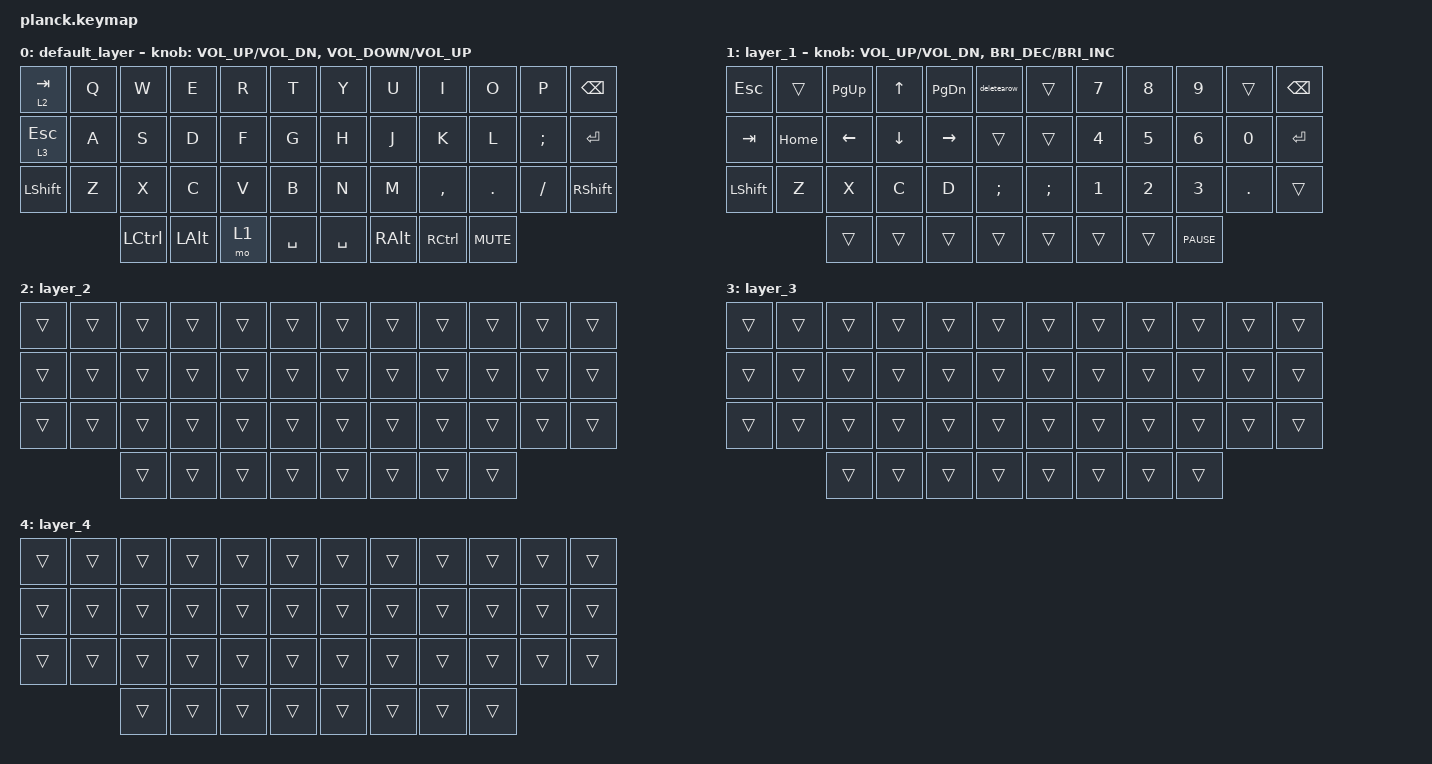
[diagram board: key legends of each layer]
#include <behaviors.dtsi>
#include <dt-bindings/zmk/keys.h>

// / {
//     chosen {
//         zmk,physical-layout = &matrix_physical_layout;
//     };
// };

/ {
    macros {
        deletearow: deletearow {
            compatible = "zmk,behavior-macro";
            #binding-cells = <0>;
            bindings = <&kp END &kp LS(HOME) &kp BACKSPACE>;
            label = "DELETEAROW";
        };
    };

    keymap {
        compatible = "zmk,keymap";

        default_layer {
            // --------------------------------------------------------------------------------------------------------------------------------------------------------------------
            // |   ESC   |    Q    |    W    |    E    |    R    |    T    |                                          |    Y    |    U    |    I    |    O    |    P    |    \    |
            // |   TAB   |    A    |    S    |    D    |    F    |    G    |                                          |    H    |    J    |    K    |    L    |    ;    |    '    |
            // |  SHIFT  |    Z    |    X    |    C    |    V    |    B    | CTRL+A  | CTRL+C  |  |  CTRL+V |  CTRL+X |    N    |    M    |    ,    |    .    |    /    |  R CTRL |
            //                               |   GUI   |   DEL   | RETURN  |  SPACE  | ESCAPE  |  |  RETURN |  SPACE  |   TAB   |   BSPC  |  R ALT  |

            bindings = <
&lt 2 TAB       &kp Q  &kp W      &kp E         &kp R  &kp T      &kp Y      &kp U          &kp I      &kp O       &kp P     &kp BACKSPACE
&lt 3 ESCAPE    &kp A  &kp S      &kp D         &kp F  &kp G      &kp H      &kp J          &kp K      &kp L       &kp SEMI  &kp RETURN
&kp LEFT_SHIFT  &kp Z  &kp X      &kp C         &kp V  &kp B      &kp N      &kp M          &kp COMMA  &kp DOT     &kp FSLH  &kp RIGHT_SHIFT
                       &kp LCTRL  &kp LEFT_ALT  &mo 1  &kp SPACE  &kp SPACE  &kp RIGHT_ALT  &kp RCTRL  &kp K_MUTE
            >;

            sensor-bindings =
                <&inc_dec_kp C_VOL_UP C_VOL_DN>,
                <&inc_dec_kp C_VOLUME_DOWN C_VOL_UP>;
        };

        layer_1 {
            bindings = <
&kp ESC    &trans    &kp PG_UP  &kp UP_ARROW  &kp PG_DN  &deletearow  &trans    &kp N7  &kp N8  &kp N9       &trans   &kp BSPC
&kp TAB    &kp HOME  &kp LEFT   &kp DOWN      &kp RIGHT  &trans       &trans    &kp N4  &kp N5  &kp N6       &kp N0   &kp ENTER
&kp LSHFT  &kp Z     &kp X      &kp C         &kp D      &kp SEMI     &kp SEMI  &kp N1  &kp N2  &kp N3       &kp DOT  &trans
                     &trans     &trans        &trans     &trans       &trans    &trans  &trans  &kp C_PAUSE
            >;

            sensor-bindings =
                <&inc_dec_kp C_VOL_UP C_VOL_DN>,
                <&inc_dec_kp C_BRIGHTNESS_DEC C_BRIGHTNESS_INC>;
        };

        layer_2 {
            bindings = <
&trans  &trans  &trans  &trans  &trans  &trans  &trans  &trans  &trans  &trans  &trans  &trans
&trans  &trans  &trans  &trans  &trans  &trans  &trans  &trans  &trans  &trans  &trans  &trans
&trans  &trans  &trans  &trans  &trans  &trans  &trans  &trans  &trans  &trans  &trans  &trans
                &trans  &trans  &trans  &trans  &trans  &trans  &trans  &trans
            >;
        };

        layer_3 {
            bindings = <
&trans  &trans  &trans  &trans  &trans  &trans  &trans  &trans  &trans  &trans  &trans  &trans
&trans  &trans  &trans  &trans  &trans  &trans  &trans  &trans  &trans  &trans  &trans  &trans
&trans  &trans  &trans  &trans  &trans  &trans  &trans  &trans  &trans  &trans  &trans  &trans
                &trans  &trans  &trans  &trans  &trans  &trans  &trans  &trans
            >;
        };

        layer_4 {
            bindings = <
&trans  &trans  &trans  &trans  &trans  &trans  &trans  &trans  &trans  &trans  &trans  &trans
&trans  &trans  &trans  &trans  &trans  &trans  &trans  &trans  &trans  &trans  &trans  &trans
&trans  &trans  &trans  &trans  &trans  &trans  &trans  &trans  &trans  &trans  &trans  &trans
                &trans  &trans  &trans  &trans  &trans  &trans  &trans  &trans
            >;
        };
    };
};
